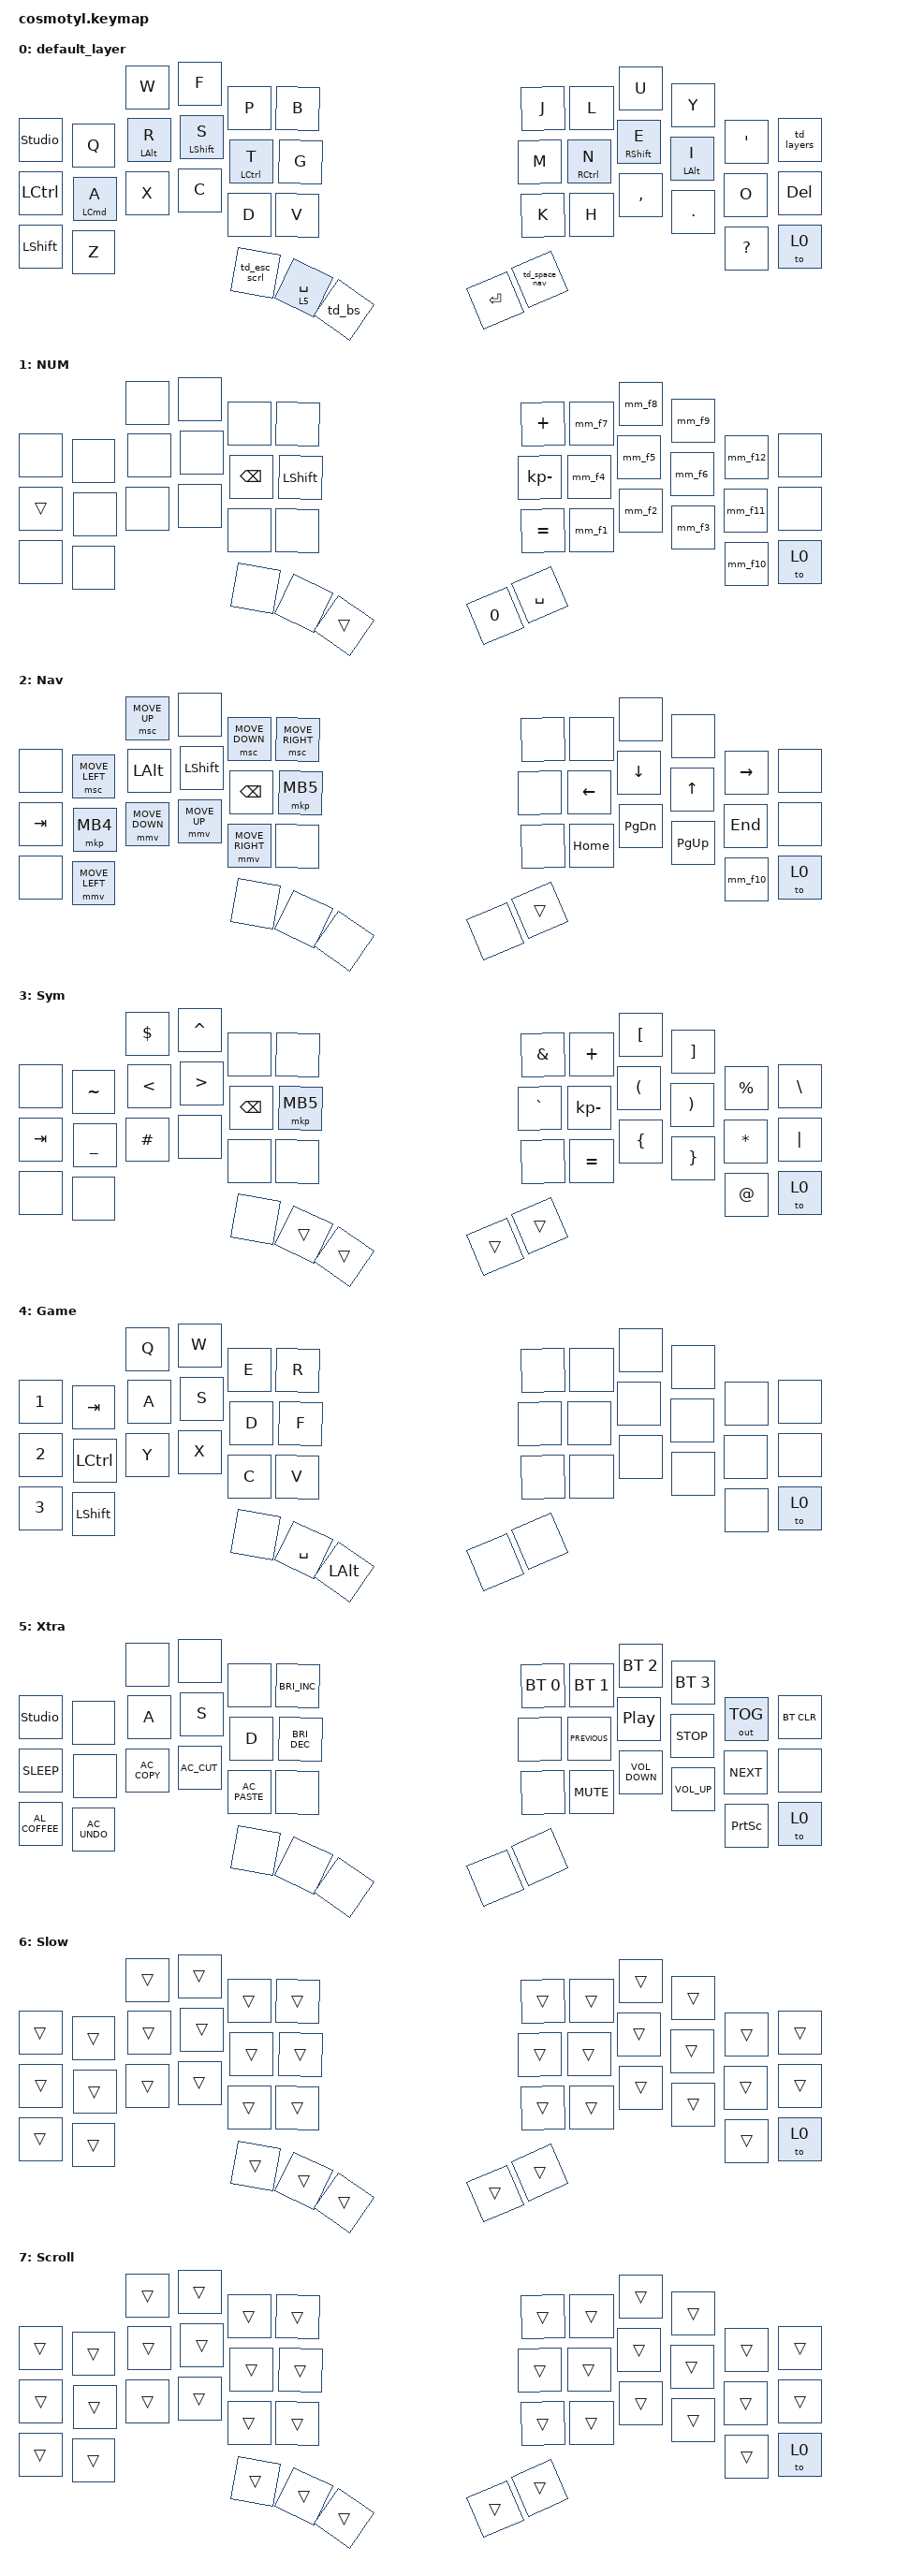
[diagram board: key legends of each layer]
#include <behaviors.dtsi>
#include <dt-bindings/zmk/bt.h>
#include <dt-bindings/zmk/keys.h>
#include <dt-bindings/zmk/mouse.h>
#include <dt-bindings/zmk/outputs.h>
#include <behaviors/mouse_keys.dtsi>
#include <dt-bindings/zmk/ext_power.h>

#include "behaviors.dtsi"
/ {
    // Define a default keymap here.
    // See https://zmk.dev/docs/development/hardware-integration/new-shield#default-keymap.
    keymap {
        compatible = "zmk,keymap";

        default_layer {
            bindings = <
// ╭───────────────┬────────────────┬────────────────┬─────────────────┬─────────────────┬──────────╮  ╭──────────┬──────────────────┬────────────────────┬─────────────────┬────────────────────────┬─────────────╮
                                     &kp W            &kp F             &kp P             &kp B         &kp J      &kp L              &kp U                &kp Y
// ├───────────────┼────────────────┼────────────────┼─────────────────┼─────────────────┼──────────┤  ├──────────┼──────────────────┼────────────────────┼─────────────────┼────────────────────────┼─────────────┤
     &studio_unlock &kp Q            &ht_left LALT R  &ht_left LSHFT S  &ht_left LCTRL T  &kp G         &kp M      &ht_right RCTRL N  &ht_right RSHFT E    &ht_right LALT I  &kp APOS                 &td_layers
// ├───────────────┼────────────────┼────────────────┼─────────────────┼─────────────────┼──────────┤  ├──────────┼──────────────────┼────────────────────┼─────────────────┼────────────────────────┼─────────────┤
     &kp LCTRL      &ht_left LCMD A  &kp X            &kp C             &kp D             &kp V         &kp K      &kp H              &kp COMMA            &kp PERIOD        &kp O                    &kp DEL
// ├───────────────┼────────────────┼────────────────┼─────────────────┼─────────────────┼──────────┤  ├──────────┼──────────────────┼────────────────────┴─────────────────┼────────────────────────┼─────────────┤
     &kp LSHFT      &kp Z                                                                                                                                                    &kp QUESTION             &to 0
// ╰───────────────┴────────────────┴────────────────┼─────────────────┼─────────────────┼──────────┤  ├──────────┼──────────────────┼────────────────────┴─────────────────┴────────────────────────┴─────────────╯
                                                      &td_esc_scrl      &lt 5 SPACE         &td_bs        &kp ENTER  &td_space_nav
                                                  // ╰─────────────────┴─────────────────┴──────────╯  ╰──────────┴──────────────────╯
            >;
        };
        NUM {
            bindings = <
// ╭───────────────┬────────────────┬────────────────┬─────────────────┬─────────────────┬────────────╮  ╭────────────┬──────────────────┬────────────────────┬─────────────────┬────────────────────────┬─────────────╮
                                     &none            &none             &none             &none           &kp PLUS     &mm_f7             &mm_f8               &mm_f9       
// ├───────────────┼────────────────┼────────────────┼─────────────────┼─────────────────┼────────────┤  ├────────────┼──────────────────┼────────────────────┼─────────────────┼────────────────────────┼─────────────┤
     &none          &none            &none            &none             &kp BACKSPACE     &kp LSHIFT      &kp KP_MINUS &mm_f4             &mm_f5               &mm_f6            &mm_f12                  &none
// ├───────────────┼────────────────┼────────────────┼─────────────────┼─────────────────┼────────────┤  ├────────────┼──────────────────┼────────────────────┼─────────────────┼────────────────────────┼─────────────┤
     &trans         &none            &none            &none            &none             &none            &kp EQUAL    &mm_f1             &mm_f2               &mm_f3            &mm_f11                  &none
// ├───────────────┼────────────────┼────────────────┼─────────────────┼─────────────────┼────────────┤  ├────────────┼──────────────────┼────────────────────┴─────────────────┼────────────────────────┼─────────────┤
     &none          &none                                                                                                                                                        &mm_f10                  &to 0
// ╰───────────────┴────────────────┴────────────────┼─────────────────┼─────────────────┼────────────┤  ├────────────┼──────────────────┼────────────────────┴─────────────────┴────────────────────────┴─────────────╯
                                                      &none             &none             &trans          &kp N0       &kp SPACE
                                                  // ╰─────────────────┴─────────────────┴────────────╯  ╰────────────┴──────────────────╯
            >;
        };
        NAV {
            display-name = "Nav";
            bindings = <
// ╭───────────────┬────────────────┬────────────────┬─────────────────┬─────────────────┬────────────╮  ╭────────────┬──────────────────┬────────────────────┬─────────────────┬────────────────────────┬─────────────╮
                                     &msc MOVE_UP     &none             &msc MOVE_DOWN    &msc MOVE_RIGHT &none        &none              &none                &none       
// ├───────────────┼────────────────┼────────────────┼─────────────────┼─────────────────┼────────────┤  ├────────────┼──────────────────┼────────────────────┼─────────────────┼────────────────────────┼─────────────┤
    &none           &msc MOVE_LEFT   &kp LALT         &kp LSHFT         &kp BACKSPACE     &mkp MB5        &none        &kp LEFT_ARROW     &kp DOWN             &kp UP            &kp RIGHT_ARROW          &none
// ├───────────────┼────────────────┼────────────────┼─────────────────┼─────────────────┼────────────┤  ├────────────┼──────────────────┼────────────────────┼─────────────────┼────────────────────────┼─────────────┤
    &kp TAB         &mkp MB4         &mmv MOVE_DOWN   &mmv MOVE_UP      &mmv MOVE_RIGHT   &none           &none        &kp HOME           &kp PG_DN            &kp PG_UP         &kp END                  &none
// ├───────────────┼────────────────┼────────────────┼─────────────────┼─────────────────┼────────────┤  ├────────────┼──────────────────┼────────────────────┴─────────────────┼────────────────────────┼─────────────┤
    &none           &mmv MOVE_LEFT                                                                                                                                               &mm_f10                  &to 0
// ╰───────────────┴────────────────┴────────────────┼─────────────────┼─────────────────┼────────────┤  ├────────────┼──────────────────┼────────────────────┴─────────────────┴────────────────────────┴─────────────╯
                                                      &none             &none             &none           &none        &trans
                                                  // ╰─────────────────┴─────────────────┴────────────╯  ╰────────────┴──────────────────╯
            >;
        };
        SYM {
            display-name = "Sym";
            bindings = <
// ╭───────────────┬────────────────┬────────────────┬─────────────────┬─────────────────┬────────────╮  ╭────────────┬──────────────────┬────────────────────┬─────────────────┬────────────────────────┬─────────────╮
                                     &kp DLLR         &kp CARET         &none             &none           &kp AMPS     &kp PLUS           &kp LBKT             &kp RBKT       
// ├───────────────┼────────────────┼────────────────┼─────────────────┼─────────────────┼────────────┤  ├────────────┼──────────────────┼────────────────────┼─────────────────┼────────────────────────┼─────────────┤
    &none           &kp TILDE        &kp LT           &kp GT            &kp BACKSPACE     &mkp MB5        &kp GRAVE    &kp KP_MINUS       &kp LPAR             &kp RPAR          &kp PRCNT                &kp BSLH
// ├───────────────┼────────────────┼────────────────┼─────────────────┼─────────────────┼────────────┤  ├────────────┼──────────────────┼────────────────────┼─────────────────┼────────────────────────┼─────────────┤
    &kp TAB         &kp UNDER        &kp HASH         &none             &none             &none           &none        &kp EQUAL          &kp LBRC             &kp RBRC          &kp ASTRK                &kp PIPE
// ├───────────────┼────────────────┼────────────────┼─────────────────┼─────────────────┼────────────┤  ├────────────┼──────────────────┼────────────────────┴─────────────────┼────────────────────────┼─────────────┤
    &none           &none                                                                                                                                                        &kp AT                   &to 0
// ╰───────────────┴────────────────┴────────────────┼─────────────────┼─────────────────┼────────────┤  ├────────────┼──────────────────┼────────────────────┴─────────────────┴────────────────────────┴─────────────╯
                                                      &none             &trans            &trans           &trans      &trans
                                                  // ╰─────────────────┴─────────────────┴────────────╯  ╰────────────┴──────────────────╯
            >;
        };
        GAME {
            display-name = "Game";
            bindings = <
// ╭───────────────┬────────────────┬────────────────┬─────────────────┬─────────────────┬────────────╮  ╭────────────┬──────────────────┬────────────────────┬─────────────────┬────────────────────────┬─────────────╮
                                     &kp Q            &kp W             &kp E             &kp R           &none        &none              &none                &none
// ├───────────────┼────────────────┼────────────────┼─────────────────┼─────────────────┼────────────┤  ├────────────┼──────────────────┼────────────────────┼─────────────────┼────────────────────────┼─────────────┤
    &kp N1          &kp TAB          &kp A            &kp S             &kp D             &kp F           &none        &none              &none                &none             &none                    &none
// ├───────────────┼────────────────┼────────────────┼─────────────────┼─────────────────┼────────────┤  ├────────────┼──────────────────┼────────────────────┼─────────────────┼────────────────────────┼─────────────┤
    &kp N2          &kp LCTRL        &kp Y            &kp X             &kp C             &kp V           &none        &none              &none                &none             &none                    &none
// ├───────────────┼────────────────┼────────────────┼─────────────────┼─────────────────┼────────────┤  ├────────────┼──────────────────┼────────────────────┴─────────────────┼────────────────────────┼─────────────┤
    &kp N3          &kp LSHFT                                                                                                                                                    &none                    &to 0
// ╰───────────────┴────────────────┴────────────────┼─────────────────┼─────────────────┼────────────┤  ├────────────┼──────────────────┼────────────────────┴─────────────────┴────────────────────────┴─────────────╯
                                                      &none             &kp SPACE         &kp LEFT_ALT    &none        &none
                                                  // ╰─────────────────┴─────────────────┴────────────╯  ╰────────────┴──────────────────╯
            >;
        };

        EXTRAS {
            display-name = "Xtra";
            bindings = <
// ╭───────────────┬────────────────┬────────────────┬─────────────────┬─────────────────┬────────────────────╮  ╭────────────┬──────────────────┬────────────────────┬─────────────────┬────────────────────────┬─────────────╮
                                     &none            &none             &none             &kp C_BRIGHTNESS_INC    &bt BT_SEL 0 &bt BT_SEL 1       &bt BT_SEL 2         &bt BT_SEL 3
// ├───────────────┼────────────────┼────────────────┼─────────────────┼─────────────────┼────────────────────┤  ├────────────┼──────────────────┼────────────────────┼─────────────────┼────────────────────────┼─────────────┤
    &studio_unlock  &none            &kp A            &kp S             &kp D             &kp C_BRIGHTNESS_DEC    &none        &kp C_PREVIOUS     &kp C_PLAY_PAUSE     &kp C_STOP        &out OUT_TOG             &bt BT_CLR
// ├───────────────┼────────────────┼────────────────┼─────────────────┼─────────────────┼────────────────────┤  ├────────────┼──────────────────┼────────────────────┼─────────────────┼────────────────────────┼─────────────┤
    &kp C_SLEEP     &none            &kp C_AC_COPY    &kp C_AC_CUT      &kp C_AC_PASTE    &none                   &none        &kp K_MUTE         &kp C_VOLUME_DOWN    &kp C_VOLUME_UP   &kp C_NEXT               &none
// ├───────────────┼────────────────┼────────────────┼─────────────────┼─────────────────┼────────────────────┤  ├────────────┼──────────────────┼────────────────────┴─────────────────┼────────────────────────┼─────────────┤
    &kp C_AL_COFFEE &kp C_AC_UNDO                                                                                                                                                        &kp PRINTSCREEN          &to 0
// ╰───────────────┴────────────────┴────────────────┼─────────────────┼─────────────────┼────────────────────┤  ├────────────┼──────────────────┼────────────────────┴─────────────────┴────────────────────────┴─────────────╯
                                                      &none             &none             &none                   &none        &none
                                                  // ╰─────────────────┴─────────────────┴────────────────────╯  ╰────────────┴──────────────────╯
            >;
        };

        SLOW {
            display-name = "Slow";
            bindings = <
// ╭───────────────┬────────────────┬────────────────┬─────────────────┬─────────────────┬────────────╮  ╭────────────┬──────────────────┬────────────────────┬─────────────────┬────────────────────────┬─────────────╮
                                     &trans           &trans            &trans            &trans          &trans       &trans             &trans               &trans
// ├───────────────┼────────────────┼────────────────┼─────────────────┼─────────────────┼────────────┤  ├────────────┼──────────────────┼────────────────────┼─────────────────┼────────────────────────┼─────────────┤
    &trans          &trans           &trans           &trans            &trans            &trans          &trans       &trans             &trans               &trans            &trans                   &trans
// ├───────────────┼────────────────┼────────────────┼─────────────────┼─────────────────┼────────────┤  ├────────────┼──────────────────┼────────────────────┼─────────────────┼────────────────────────┼─────────────┤
    &trans          &trans           &trans           &trans            &trans            &trans          &trans       &trans             &trans               &trans            &trans                   &trans
// ├───────────────┼────────────────┼────────────────┼─────────────────┼─────────────────┼────────────┤  ├────────────┼──────────────────┼────────────────────┴─────────────────┼────────────────────────┼─────────────┤
    &trans          &trans                                                                                                                                                       &trans                   &to 0
// ╰───────────────┴────────────────┴────────────────┼─────────────────┼─────────────────┼────────────┤  ├────────────┼──────────────────┼────────────────────┴─────────────────┴────────────────────────┴─────────────╯
                                                      &trans            &trans            &trans          &trans       &trans
                                                  // ╰─────────────────┴─────────────────┴────────────╯  ╰────────────┴──────────────────╯
            >;
        };

        SCROLL {
            display-name = "Scroll";
            bindings = <
// ╭───────────────┬────────────────┬────────────────┬─────────────────┬─────────────────┬────────────╮  ╭────────────┬──────────────────┬────────────────────┬─────────────────┬────────────────────────┬─────────────╮
                                     &trans           &trans            &trans            &trans          &trans       &trans             &trans               &trans
// ├───────────────┼────────────────┼────────────────┼─────────────────┼─────────────────┼────────────┤  ├────────────┼──────────────────┼────────────────────┼─────────────────┼────────────────────────┼─────────────┤
    &trans          &trans           &trans           &trans            &trans            &trans          &trans       &trans             &trans               &trans            &trans                   &trans
// ├───────────────┼────────────────┼────────────────┼─────────────────┼─────────────────┼────────────┤  ├────────────┼──────────────────┼────────────────────┼─────────────────┼────────────────────────┼─────────────┤
    &trans          &trans           &trans           &trans            &trans            &trans          &trans       &trans             &trans               &trans            &trans                   &trans
// ├───────────────┼────────────────┼────────────────┼─────────────────┼─────────────────┼────────────┤  ├────────────┼──────────────────┼────────────────────┴─────────────────┼────────────────────────┼─────────────┤
    &trans          &trans                                                                                                                                                       &trans                   &to 0
// ╰───────────────┴────────────────┴────────────────┼─────────────────┼─────────────────┼────────────┤  ├────────────┼──────────────────┼────────────────────┴─────────────────┴────────────────────────┴─────────────╯
                                                      &trans            &trans            &trans          &trans       &trans
                                                  // ╰─────────────────┴─────────────────┴────────────╯  ╰────────────┴──────────────────╯
            >;
        };
    };
};
